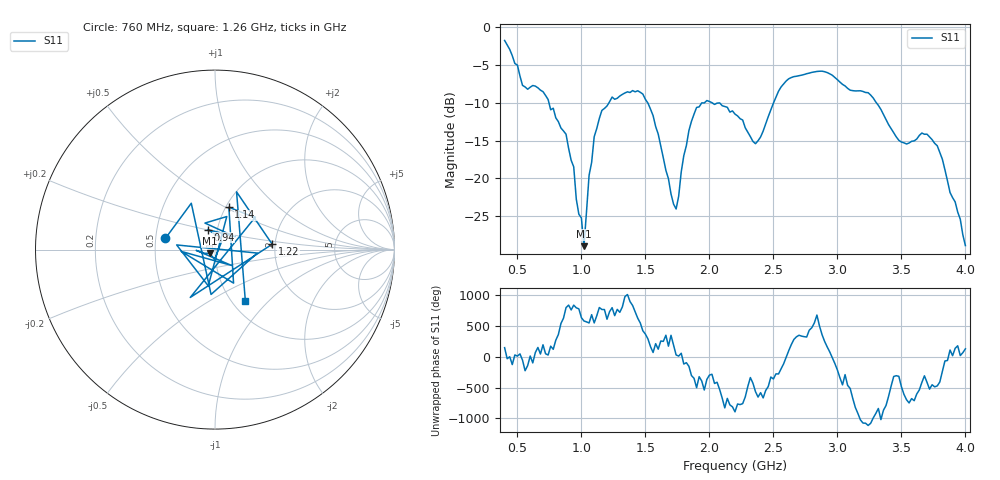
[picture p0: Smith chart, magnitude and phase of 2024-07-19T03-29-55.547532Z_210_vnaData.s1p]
!Created with skrf (http://scikit-rf.org).
# Hz S RI R 50.0
!freq ReS11 ImS11
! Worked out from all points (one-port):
!   181 points, 400 MHz to 4 GHz, reference 50 ohm
!   lowest |S11| = -28.9 dB at 1.02 GHz (marker M1), VSWR 1.07, Z = 47.1 - j1.93 ohm
!   |S11| at or under -10 dB: 745.9 MHz to 1.216 GHz (470.4 MHz wide, 47.9 % of centre); 2.018 GHz to 2.502 GHz (484.5 MHz wide, 21.4 % of centre); 3.303 GHz to end of sweep (the widest 3 of 4)
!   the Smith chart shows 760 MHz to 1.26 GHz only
!   S11 on the Smith chart (normalised r, x): 760 MHz: 0.56, +0.08; 940 MHz: 0.90, +0.20; 1.14 GHz: 1.03, +0.52; 1.22 GHz: 1.93, +0.13; 1.26 GHz: 1.15, -0.74
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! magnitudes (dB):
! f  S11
! 400 MHz  -1.8
! 540 MHz  -7.7
! 760 MHz  -10.9
! 860 MHz  -13.7
! 940 MHz  -18.5
! 960 MHz  -22.7
! 1 GHz  -25.2
! 1.02 GHz  -28.9
! 1.06 GHz  -19.6
! 1.14 GHz  -12.1
! 1.22 GHz  -9.9
! 1.26 GHz  -9.6
! 1.3 GHz  -9.1
! 1.48 GHz  -8.9
! 1.56 GHz  -11.7
! 1.72 GHz  -23.4
! 1.76 GHz  -22.3
! 1.8 GHz  -17.0
! 1.9 GHz  -10.6
! 2.2 GHz  -11.5
! 2.36 GHz  -15.4
! 2.66 GHz  -6.6
! 2.9 GHz  -5.9
! 3.1 GHz  -8.4
! 3.24 GHz  -8.7
! 3.56 GHz  -15.3
! 3.78 GHz  -15.7
! 4 GHz  -28.8
